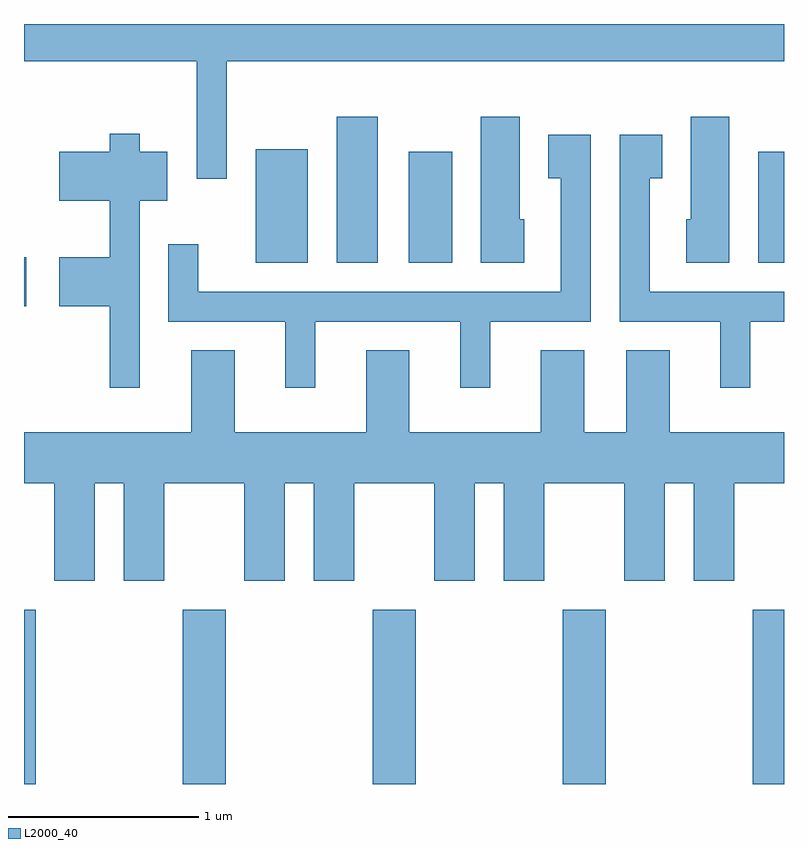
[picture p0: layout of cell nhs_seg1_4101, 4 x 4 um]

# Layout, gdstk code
import gdstk
lib = gdstk.Library(unit=1e-6, precision=1e-09)
def R(c, l, rs):  # rectangles x0, y0, x1, y1
    for r in rs: c.add(gdstk.rectangle(r[:2], r[2:], *l))
def A(c, l, x, y, w, h, nx, ny, dx, dy):  # array of equal rectangles
    R(c, l, [(x+i*dx, y+j*dy, x+i*dx+w, y+j*dy+h) for i in range(nx) for j in range(ny)])
def P(c, l, *ps):  # polygons
    for p in ps: c.add(gdstk.Polygon(p, *l))
L2000_40 = (2000, 40)

nhs_seg1_4101 = lib.new_cell('nhs_seg1_4101')
A(nhs_seg1_4101, L2000_40, 308.446, 955.712, 0.228, 0.917, 3, 1, 1, 0)
R(nhs_seg1_4101, L2000_40, [(307.611,955.712,307.674,956.629), (311.446,955.712,311.611,956.629), (307.611,958.226,307.624,958.484), (308.831,958.456,309.104,959.054), (309.256,958.456,309.474,959.224), (309.636,958.456,309.864,959.039), (311.476,958.456,311.611,959.039)])
P(nhs_seg1_4101, L2000_40, [(308.679,959.516),(311.611,959.516),(311.611,959.712),(307.611,959.712),(307.611,959.516),(308.521,959.516),(308.521,958.898),(308.679,958.898)],
  [(311.324,959.224),(311.121,959.224),(311.121,958.684),(311.096,958.684),(311.096,958.456),(311.324,958.456)],
  [(310.244,958.684),(310.219,958.684),(310.219,959.224),(310.016,959.224),(310.016,958.456),(310.244,958.456)],
  [(308.219,958.781),(308.364,958.781),(308.364,959.039),(308.219,959.039),(308.219,959.134),(308.061,959.134),(308.061,959.039),(307.796,959.039),(307.796,958.781),(308.061,958.781),(308.061,958.484),(307.796,958.484),(307.796,958.226),(308.061,958.226),(308.061,957.798),(308.219,957.798)],
  [(309.144,958.146),(309.906,958.146),(309.906,957.798),(310.064,957.798),(310.064,958.146),(310.594,958.146),(310.594,959.129),(310.371,959.129),(310.371,958.901),(310.436,958.901),(310.436,958.304),(308.529,958.304),(308.529,958.553),(308.371,958.553),(308.371,958.146),(308.986,958.146),(308.986,957.798),(309.144,957.798)],
  [(311.434,958.146),(311.611,958.146),(311.611,958.304),(310.904,958.304),(310.904,958.901),(310.969,958.901),(310.969,959.129),(310.746,959.129),(310.746,958.146),(311.276,958.146),(311.276,957.798),(311.434,957.798)],
  [(307.984,957.296),(308.136,957.296),(308.136,956.781),(308.349,956.781),(308.349,957.296),(308.771,957.296),(308.771,956.781),(308.984,956.781),(308.984,957.296),(309.136,957.296),(309.136,956.781),(309.349,956.781),(309.349,957.296),(309.771,957.296),(309.771,956.781),(309.984,956.781),(309.984,957.296),(310.136,957.296),(310.136,956.781),(310.349,956.781),(310.349,957.296),(310.771,957.296),(310.771,956.781),(310.984,956.781),(310.984,957.296),(311.136,957.296),(311.136,956.781),(311.349,956.781),(311.349,957.296),(311.611,957.296),(311.611,957.564),(311.009,957.564),(311.009,957.994),(310.781,957.994),(310.781,957.564),(310.559,957.564),(310.559,957.994),(310.331,957.994),(310.331,957.564),(309.639,957.564),(309.639,957.994),(309.411,957.994),(309.411,957.564),(308.719,957.564),(308.719,957.994),(308.491,957.994),(308.491,957.564),(307.611,957.564),(307.611,957.296),(307.771,957.296),(307.771,956.781),(307.984,956.781)])

lib.write_gds('nhs_seg1_4101.gds')
